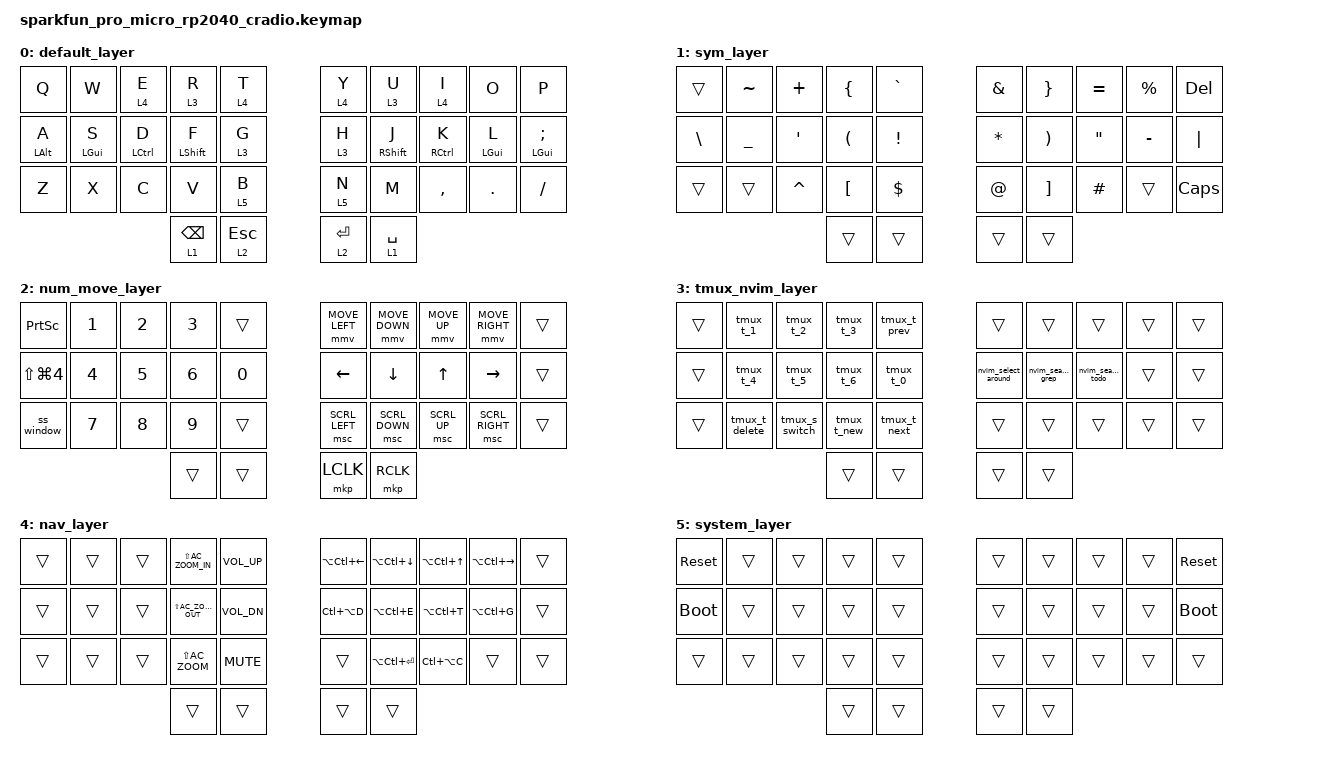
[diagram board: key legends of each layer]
#include <behaviors.dtsi>
#include <dt-bindings/zmk/keys.h>
#include <dt-bindings/zmk/pointing.h>

#define SYM_L 1
#define NUM_MOVE_L 2
#define TMUX_NVIM_L 3
#define NAV_L 4
#define SYSTEM_L 5

&lt {
    flavor = "balanced";
    tapping-term-ms = <250>;
    quick-tap-ms = <175>;
    require-prior-idle-ms = <150>;
};

/ {
    behaviors {
        hm_l: hold_tap_l {
            compatible = "zmk,behavior-hold-tap";
            #binding-cells = <2>;
            tapping-term-ms = <250>;
            quick-tap-ms = <80>;
            require-prior-idle-ms = <0>;
            flavor = "balanced";
            retro-tap;
            bindings = <&kp>, <&kp>;
        };

        hm_r: hold_tap_r {
            compatible = "zmk,behavior-hold-tap";
            #binding-cells = <2>;
            tapping-term-ms = <250>;
            quick-tap-ms = <80>;
            require-prior-idle-ms = <0>;
            flavor = "balanced";
            retro-tap;
            bindings = <&kp>, <&kp>;
        };
    };

    macros {
        ss_window: ss_window {
            compatible = "zmk,behavior-macro";
            #binding-cells = <0>;
            bindings = <&kp LS(LG(NUMBER_4)) &kp SPACE>;
            label = "SS_WINDOW";
        };

        tmux_t_0: tmux_t_0 {
            compatible = "zmk,behavior-macro";
            #binding-cells = <0>;
            bindings = <&kp LC(B) &kp NUMBER_0>;
            label = "TMUX_T_0";
        };

        tmux_t_1: tmux_t_1 {
            compatible = "zmk,behavior-macro";
            #binding-cells = <0>;
            bindings = <&kp LC(B) &kp NUMBER_1>;
            label = "TMUX_T_1";
        };

        tmux_t_2: tmux_t_2 {
            compatible = "zmk,behavior-macro";
            #binding-cells = <0>;
            bindings = <&kp LC(B) &kp NUMBER_2>;
            label = "TMUX_T_2";
        };

        tmux_t_3: tmux_t_3 {
            compatible = "zmk,behavior-macro";
            #binding-cells = <0>;
            bindings = <&kp LC(B) &kp NUMBER_3>;
            label = "TMUX_T_3";
        };

        tmux_t_4: tmux_t_4 {
            compatible = "zmk,behavior-macro";
            #binding-cells = <0>;
            bindings = <&kp LC(B) &kp NUMBER_4>;
            label = "TMUX_T_4";
        };

        tmux_t_5: tmux_t_5 {
            compatible = "zmk,behavior-macro";
            #binding-cells = <0>;
            bindings = <&kp LC(B) &kp NUMBER_5>;
            label = "TMUX_T_5";
        };

        tmux_t_6: tmux_t_6 {
            compatible = "zmk,behavior-macro";
            #binding-cells = <0>;
            bindings = <&kp LC(B) &kp NUMBER_6>;
            label = "TMUX_T_6";
        };

        tmux_t_prev: tmux_t_prev {
            compatible = "zmk,behavior-macro";
            #binding-cells = <0>;
            bindings = <&kp LC(B) &kp P>;
            label = "TMUX_T_PREV";
        };

        tmux_t_next: tmux_t_next {
            compatible = "zmk,behavior-macro";
            #binding-cells = <0>;
            bindings = <&kp LC(B) &kp N>;
            label = "TMUX_T_NEXT";
        };

        tmux_t_new: tmux_t_new {
            compatible = "zmk,behavior-macro";
            #binding-cells = <0>;
            bindings = <&kp LC(B) &kp C>;
            label = "TMUX_T_NEW";
        };

        tmux_s_switch: tmux_s_switch {
            compatible = "zmk,behavior-macro";
            #binding-cells = <0>;
            bindings = <&kp LC(B) &kp S>;
            label = "TMUX_S_SWITCH";
        };

        tmux_t_delete: tmux_t_delete {
            compatible = "zmk,behavior-macro";
            #binding-cells = <0>;
            bindings = <&kp LC(B) &kp AMPERSAND>;
            label = "TMUX_T_DELETE";
        };

        nvim_search_grep: nvim_search_grep {
            compatible = "zmk,behavior-macro";
            #binding-cells = <0>;
            bindings = <&kp SPACE &kp S &kp LS(G)>;
            label = "NVIM_SEARCH_GREP";
        };

        nvim_search_todo: nvim_search_todo {
            compatible = "zmk,behavior-macro";
            #binding-cells = <0>;
            bindings = <&kp SPACE &kp S &kp LS(T)>;
            label = "NVIM_SEARCH_TODO";
        };

        nvim_select_around: nvim_select_around {
            compatible = "zmk,behavior-macro";
            #binding-cells = <0>;
            bindings = <&kp V &kp I &kp W &kp G &kp S &kp A>;
            label = "NVIM_SELECT_AROUND";
        };
    };

    combos {
        compatible = "zmk,combos";

        tab {
            bindings = <&kp TAB>;
            key-positions = <3 2>;
        };

        start {
            bindings = <&kp NUMBER_0>;
            key-positions = <3 4>;
        };

        end {
            bindings = <&kp LG(DOLLAR)>;
            key-positions = <5 6>;
        };

        grave {
            bindings = <&kp GRAVE>;
            key-positions = <6 7>;
        };
    };

    keymap {
        compatible = "zmk,keymap";

        default_layer {
            bindings = <
&kp Q         &kp W         &lt 4 E        &lt 3 R          &lt 4 T         &lt 4 Y      &lt 3 U        &lt 4 I        &kp O         &kp P
&hm_l LALT A  &hm_l LGUI S  &hm_l LCTRL D  &hm_l LSHFT F    &lt 3 G         &lt 3 H      &hm_r RSHFT J  &hm_r RCTRL K  &hm_r LGUI L  &hm_r LGUI SEMICOLON
&kp Z         &kp X         &kp C          &kp V            &lt 5 B         &lt 5 N      &kp M          &kp COMMA      &kp PERIOD    &kp SLASH
                                           &lt 1 BACKSPACE  &lt 2 ESCAPE    &lt 2 ENTER  &lt 1 SPACE
            >;
        };

        sym_layer {
            bindings = <
&trans         &kp TILDE       &kp PLUS          &kp LEFT_BRACE        &kp GRAVE          &kp AMPERSAND  &kp RIGHT_BRACE        &kp EQUAL          &kp PERCENT  &kp DELETE
&kp BACKSLASH  &kp UNDERSCORE  &kp SINGLE_QUOTE  &kp LEFT_PARENTHESIS  &kp EXCLAMATION    &kp ASTERISK   &kp RIGHT_PARENTHESIS  &kp DOUBLE_QUOTES  &kp MINUS    &kp PIPE
&trans         &trans          &kp CARET         &kp LEFT_BRACKET      &kp DOLLAR         &kp AT_SIGN    &kp RIGHT_BRACKET      &kp HASH           &trans       &kp CAPS
                                                 &trans                &trans             &trans         &trans
            >;
        };

        num_move_layer {
            bindings = <
&kp PRINTSCREEN       &kp NUMBER_1  &kp NUMBER_2  &kp NUMBER_3  &trans          &mmv MOVE_LEFT  &mmv MOVE_DOWN  &mmv MOVE_UP  &mmv MOVE_RIGHT  &trans
&kp LS(LG(NUMBER_4))  &kp NUMBER_4  &kp NUMBER_5  &kp NUMBER_6  &kp NUMBER_0    &kp LEFT_ARROW  &kp DOWN_ARROW  &kp UP_ARROW  &kp RIGHT_ARROW  &trans
&ss_window            &kp NUMBER_7  &kp NUMBER_8  &kp NUMBER_9  &trans          &msc SCRL_LEFT  &msc SCRL_DOWN  &msc SCRL_UP  &msc SCRL_RIGHT  &trans
                                                  &trans        &trans          &mkp LCLK       &mkp RCLK
            >;
        };

        tmux_nvim_layer {
            bindings = <
&trans  &tmux_t_1       &tmux_t_2       &tmux_t_3    &tmux_t_prev    &trans               &trans             &trans             &trans  &trans
&trans  &tmux_t_4       &tmux_t_5       &tmux_t_6    &tmux_t_0       &nvim_select_around  &nvim_search_grep  &nvim_search_todo  &trans  &trans
&trans  &tmux_t_delete  &tmux_s_switch  &tmux_t_new  &tmux_t_next    &trans               &trans             &trans             &trans  &trans
                                        &trans       &trans          &trans               &trans
            >;
        };

        nav_layer {
            bindings = <
&trans  &trans  &trans  &kp LS(C_AC_ZOOM_IN)   &kp C_VOLUME_UP    &kp LA(LC(LEFT))  &kp LA(LC(DOWN_ARROW))  &kp LA(LC(UP_ARROW))  &kp LA(LC(RIGHT))  &trans
&trans  &trans  &trans  &kp LS(C_AC_ZOOM_OUT)  &kp C_VOL_DN       &kp LC(LA(D))     &kp LA(LC(E))           &kp LA(LC(T))         &kp LA(LC(G))      &trans
&trans  &trans  &trans  &kp LS(C_AC_ZOOM)      &kp K_MUTE         &trans            &kp LA(LC(ENTER))       &kp LC(LA(C))         &trans             &trans
                        &trans                 &trans             &trans            &trans
            >;
        };

        system_layer {
            bindings = <
            &sys_reset  &trans     &trans    &trans    &trans    &trans     &trans     &trans     &trans    &sys_reset
            &bootloader &trans     &trans    &trans    &trans    &trans     &trans     &trans     &trans    &bootloader
            &trans      &trans     &trans    &trans    &trans    &trans     &trans     &trans     &trans     &trans
                                             &trans     &trans         &trans     &trans
            >;
        };
    };
};
